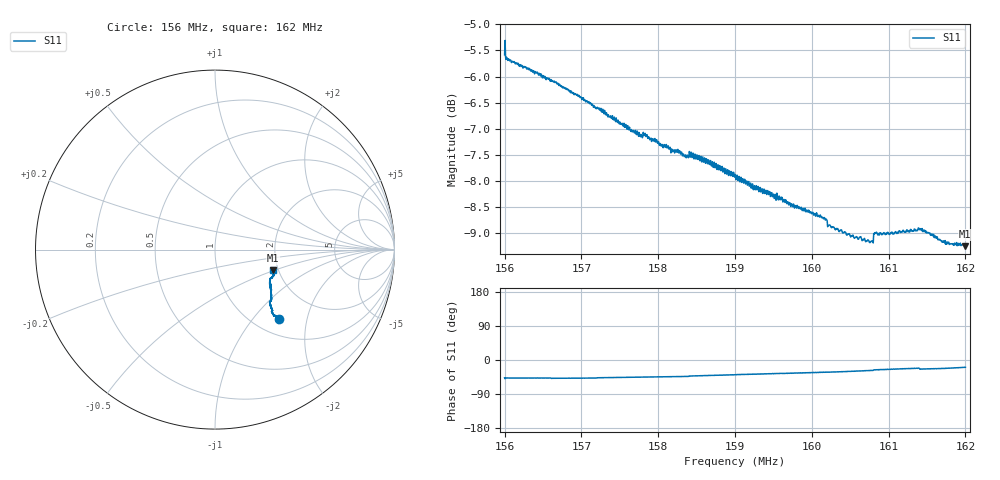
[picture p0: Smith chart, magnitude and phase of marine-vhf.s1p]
! Calibrated averaged scanner-service zoom
# Hz S RI R 50
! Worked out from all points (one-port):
!   1001 points, 156 MHz to 162 MHz, reference 50 ohm
!   lowest |S11| = -9.3 dB at 161.99 MHz (marker M1), VSWR 2.05, Z = 94 - j24.4 ohm
!   |S11| at or under -10 dB: nowhere
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1.56e8  0.3561 -0.387
1.56066e8  0.3479 -0.385
1.56552e8  0.3378 -0.3684
1.56636e8  0.3293 -0.3698
1.5675e8  0.3273 -0.3651
1.57164e8  0.3172 -0.3468
1.57248e8  0.3189 -0.3388
1.575e8  0.3149 -0.3263
1.57764e8  0.309 -0.3127
1.5783e8  0.3115 -0.3136
1.5825e8  0.3067 -0.2943
1.5837e8  0.3056 -0.2887
1.5843e8  0.3136 -0.2853
1.58478e8  0.3139 -0.2824
1.59e8  0.3146 -0.253
1.5924e8  0.3101 -0.2369
1.5975e8  0.31 -0.2126
1.6014e8  0.3096 -0.1975
1.60236e8  0.3064 -0.1908
1.605e8  0.3047 -0.1766
1.6077e8  0.3084 -0.1614
1.60836e8  0.3201 -0.1536
1.6125e8  0.328 -0.1383
1.6137e8  0.3313 -0.133
1.61436e8  0.3282 -0.1434
1.61724e8  0.3224 -0.1311
1.61994e8  0.3248 -0.1146
1.62e8  0.3257 -0.1137
